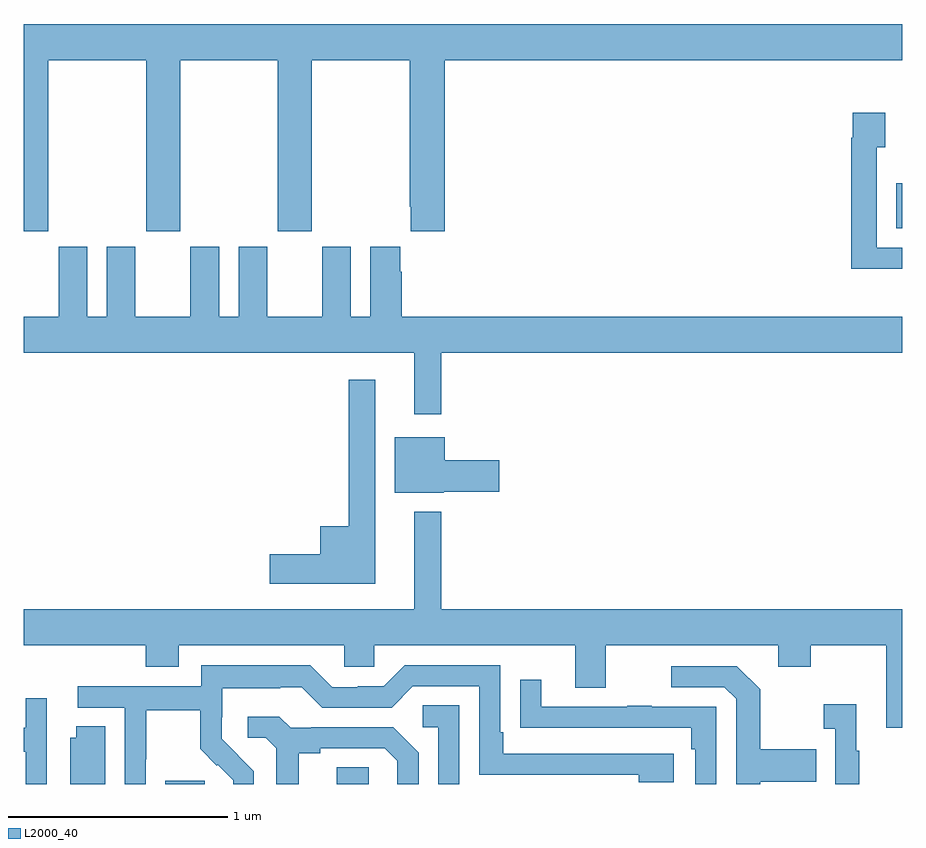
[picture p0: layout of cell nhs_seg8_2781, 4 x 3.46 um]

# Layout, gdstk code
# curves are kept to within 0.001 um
import gdstk
lib = gdstk.Library(unit=1e-6, precision=1e-09)
def R(c, l, rs):  # rectangles x0, y0, x1, y1
    for r in rs: c.add(gdstk.rectangle(r[:2], r[2:], *l))
def P(c, l, *ps):  # polygons
    for p in ps: c.add(gdstk.Polygon(p, *l))
L2000_40 = (2000, 40)

nhs_seg8_2781 = lib.new_cell('nhs_seg8_2781')
R(nhs_seg8_2781, L2000_40, [(287.645,1083.9,287.824,1083.915), (288.425,1083.9,288.57,1083.977), (290.972,1086.431,291,1086.634)])
P(nhs_seg8_2781, L2000_40, [(287.112,1087.196),(287.557,1087.196),(287.557,1086.417),(287.712,1086.417),(287.712,1087.196),(288.157,1087.196),(288.157,1086.417),(288.312,1086.417),(288.312,1087.196),(288.757,1087.196),(288.757,1086.529),(288.761,1086.529),(288.761,1086.417),(288.917,1086.417),(288.917,1087.196),(291,1087.196),(291,1087.36),(287,1087.36),(287,1086.417),(287.112,1086.417)],
  [(291,1086.342),(290.883,1086.342),(290.883,1086.799),(290.923,1086.799),(290.923,1086.955),(290.775,1086.955),(290.775,1086.842),(290.767,1086.842),(290.767,1086.245),(291,1086.245)],
  [(288.901,1085.864),(291,1085.864),(291,1086.028),(288.722,1086.028),(288.722,1086.233),(288.715,1086.233),(288.715,1086.346),(288.578,1086.346),(288.578,1086.028),(288.49,1086.028),(288.49,1086.346),(288.359,1086.346),(288.359,1086.028),(288.109,1086.028),(288.109,1086.346),(287.978,1086.346),(287.978,1086.028),(287.89,1086.028),(287.89,1086.346),(287.759,1086.346),(287.759,1086.028),(287.509,1086.028),(287.509,1086.346),(287.378,1086.346),(287.378,1086.028),(287.29,1086.028),(287.29,1086.346),(287.159,1086.346),(287.159,1086.028),(287,1086.028),(287,1085.864),(288.779,1085.864),(288.779,1085.583),(288.901,1085.583)],
  [(288.601,1085.74),(288.48,1085.74),(288.48,1085.074),(288.35,1085.074),(288.35,1084.946),(288.12,1084.946),(288.12,1084.811),(288.601,1084.811)],
  [(288.912,1085.231),(289.165,1085.231),(289.165,1085.373),(288.916,1085.373),(288.916,1085.479),(288.689,1085.479),(288.689,1085.225),(288.912,1085.225)],
  [(291,1084.696),(288.901,1084.696),(288.901,1085.14),(288.779,1085.14),(288.779,1084.696),(287,1084.696),(287,1084.532),(287.555,1084.532),(287.555,1084.433),(287.707,1084.433),(287.707,1084.532),(288.459,1084.532),(288.459,1084.434),(288.597,1084.434),(288.597,1084.532),(289.511,1084.532),(289.511,1084.338),(289.651,1084.338),(289.651,1084.532),(290.435,1084.532),(290.435,1084.433),(290.583,1084.433),(290.583,1084.532),(290.927,1084.532),(290.927,1084.155),(291,1084.155)],
  [(287.556,1084.012),(287.559,1084.012),(287.559,1084.236),(287.803,1084.236),(287.803,1084.061),(287.88,1083.984),(287.883,1083.987),(287.954,1083.917),(287.954,1083.9),(288.048,1083.9),(288.048,1083.958),(287.902,1084.106),(287.902,1084.203),(287.904,1084.203),(287.904,1084.337),(288.167,1084.337),(288.167,1084.341),(288.267,1084.341),(288.36,1084.248),(288.675,1084.248),(288.771,1084.344),(289.074,1084.344),(289.074,1083.942),(289.799,1083.942),(289.799,1083.908),(289.96,1083.908),(289.96,1084.038),(289.183,1084.038),(289.183,1084.135),(289.17,1084.135),(289.17,1084.44),(288.735,1084.44),(288.639,1084.344),(288.521,1084.344),(288.521,1084.341),(288.405,1084.341),(288.305,1084.441),(287.808,1084.441),(287.808,1084.344),(287.247,1084.344),(287.247,1084.248),(287.46,1084.248),(287.46,1083.9),(287.556,1083.9)],
  [(290.353,1083.911),(290.609,1083.911),(290.609,1084.059),(290.353,1084.059),(290.353,1084.331),(290.247,1084.437),(289.947,1084.437),(289.947,1084.341),(290.19,1084.341),(290.244,1084.287),(290.244,1083.9),(290.353,1083.9)],
  [(290.154,1084.251),(289.859,1084.251),(289.859,1084.256),(289.747,1084.256),(289.747,1084.251),(289.357,1084.251),(289.357,1084.375),(289.261,1084.375),(289.261,1084.156),(289.363,1084.156),(289.363,1084.155),(290.038,1084.155),(290.038,1084.058),(290.058,1084.058),(290.058,1083.9),(290.154,1083.9)],
  [(287.106,1084.291),(287.009,1084.291),(287.009,1084.156),(287,1084.156),(287,1084.047),(287.01,1084.047),(287.01,1083.9),(287.106,1083.9)],
  [(290.803,1084.051),(290.791,1084.051),(290.791,1084.264),(290.643,1084.264),(290.643,1084.151),(290.694,1084.151),(290.694,1083.9),(290.803,1083.9)],
  [(288.984,1084.259),(288.816,1084.259),(288.816,1084.158),(288.888,1084.158),(288.888,1083.9),(288.984,1083.9)],
  [(288.253,1084.04),(288.349,1084.04),(288.349,1084.062),(288.644,1084.062),(288.701,1084.005),(288.701,1083.9),(288.798,1083.9),(288.798,1084.042),(288.682,1084.158),(288.31,1084.158),(288.31,1084.155),(288.216,1084.155),(288.164,1084.207),(288.021,1084.207),(288.021,1084.11),(288.102,1084.11),(288.149,1084.063),(288.149,1083.9),(288.253,1083.9)],
  [(287.371,1084.163),(287.24,1084.163),(287.24,1084.11),(287.213,1084.11),(287.213,1083.9),(287.371,1083.9)])

lib.write_gds('nhs_seg8_2781.gds')
